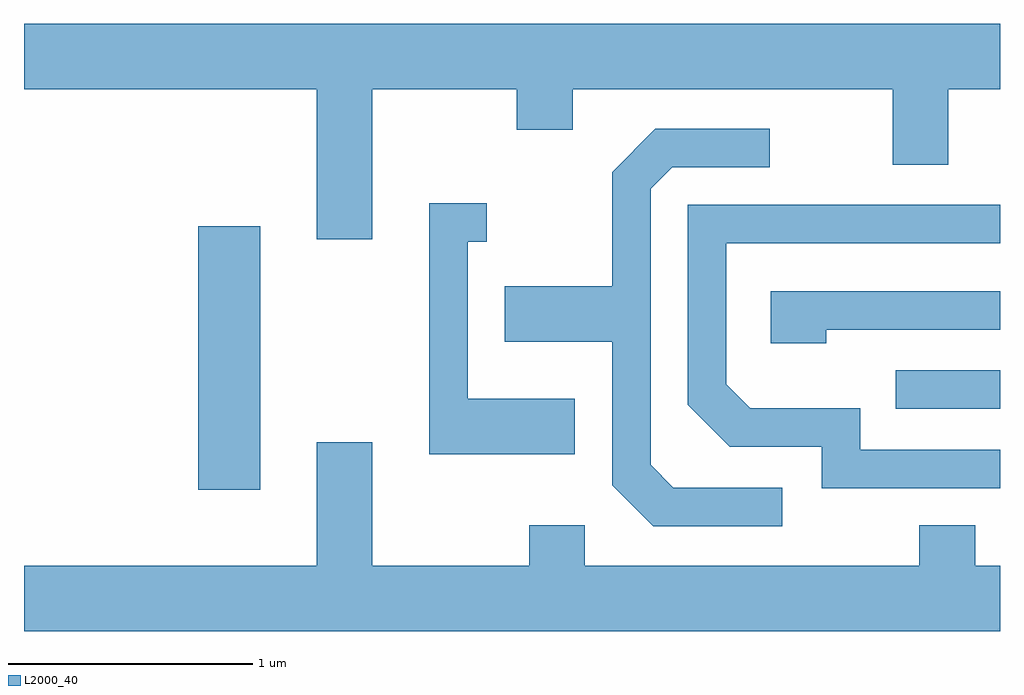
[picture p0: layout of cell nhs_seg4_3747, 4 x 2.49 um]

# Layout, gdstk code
import gdstk
lib = gdstk.Library(unit=1e-6, precision=1e-09)
def R(c, l, rs):  # rectangles x0, y0, x1, y1
    for r in rs: c.add(gdstk.rectangle(r[:2], r[2:], *l))
def P(c, l, *ps):  # polygons
    for p in ps: c.add(gdstk.Polygon(p, *l))
L2000_40 = (2000, 40)

nhs_seg4_3747 = lib.new_cell('nhs_seg4_3747')
R(nhs_seg4_3747, L2000_40, [(296.326,1268.676,296.579,1269.754), (299.183,1269.006,299.611,1269.164)])
P(nhs_seg4_3747, L2000_40, [(297.039,1270.316),(297.631,1270.316),(297.631,1270.151),(297.859,1270.151),(297.859,1270.316),(299.171,1270.316),(299.171,1270.006),(299.399,1270.006),(299.399,1270.316),(299.611,1270.316),(299.611,1270.584),(295.611,1270.584),(295.611,1270.316),(296.811,1270.316),(296.811,1269.701),(297.039,1269.701)],
  [(298.718,1268.684),(298.272,1268.684),(298.179,1268.777),(298.179,1269.909),(298.267,1269.996),(298.668,1269.996),(298.668,1270.154),(298.199,1270.154),(298.021,1269.977),(298.021,1269.509),(297.581,1269.509),(297.581,1269.281),(298.021,1269.281),(298.021,1268.694),(298.189,1268.526),(298.718,1268.526)],
  [(297.869,1269.049),(297.429,1269.049),(297.429,1269.691),(297.508,1269.691),(297.508,1269.849),(297.271,1269.849),(297.271,1268.821),(297.869,1268.821)],
  [(299.611,1268.839),(299.039,1268.839),(299.039,1269.009),(298.587,1269.009),(298.489,1269.107),(298.489,1269.686),(299.611,1269.686),(299.611,1269.844),(298.331,1269.844),(298.331,1269.024),(298.504,1268.851),(298.881,1268.851),(298.881,1268.681),(299.611,1268.681)],
  [(298.899,1269.331),(299.611,1269.331),(299.611,1269.489),(298.671,1269.489),(298.671,1269.276),(298.899,1269.276)],
  [(299.611,1268.364),(299.509,1268.364),(299.509,1268.529),(299.281,1268.529),(299.281,1268.364),(297.909,1268.364),(297.909,1268.529),(297.681,1268.529),(297.681,1268.364),(297.039,1268.364),(297.039,1268.869),(296.811,1268.869),(296.811,1268.364),(295.611,1268.364),(295.611,1268.096),(299.611,1268.096)])

lib.write_gds('nhs_seg4_3747.gds')
